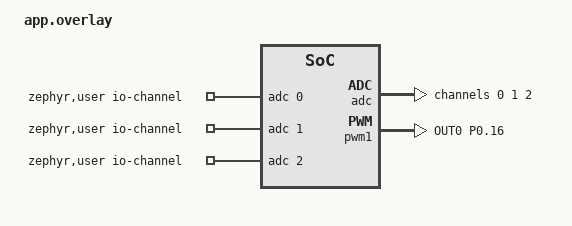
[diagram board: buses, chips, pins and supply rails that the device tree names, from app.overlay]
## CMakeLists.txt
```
# SPDX-License-Identifier: Apache-2.0

cmake_minimum_required(VERSION 3.20.0)
find_package(Zephyr REQUIRED HINTS $ENV{ZEPHYR_BASE})
project(OpenBlink)

target_sources(app PRIVATE
                    src/main.c
                    src/app/blink.c
                    src/app/comm.c
                    src/app/config.c
                    src/app/init.c
                    src/app/mrubyc_vm.c
                    src/app/storage.c
                    src/app/watchdog.c
                    src/api/adc.c
                    src/api/api.c
                    src/api/ble.c
                    src/api/blink.c
                    src/api/i2c.c
                    src/api/input.c
                    src/api/led.c
                    src/api/pwm.c
                    src/api/symbol.c
                    src/api/temperature.c
                    src/drv/hal/die_temperature.c
                    src/drv/adc.c
                    src/drv/ble.c
                    src/drv/ble_blink.c
                    src/drv/gpio.c
                    src/drv/pwm.c
                    src/lib/mrubyc/hal.c
                    src/lib/hmac-sha256.c
                    mrubyc/src/alloc.c
                    mrubyc/src/c_array.c
                    mrubyc/src/c_hash.c
                    mrubyc/src/c_math.c
                    mrubyc/src/c_numeric.c
                    mrubyc/src/c_object.c
                    mrubyc/src/c_range.c
                    mrubyc/src/c_string.c
                    mrubyc/src/class.c
                    mrubyc/src/console.c
                    mrubyc/src/error.c
                    mrubyc/src/global.c
                    mrubyc/src/keyvalue.c
                    mrubyc/src/load.c
                    mrubyc/src/mrblib.c
                    mrubyc/src/rrt0.c
                    mrubyc/src/symbol.c
                    mrubyc/src/value.c
                    mrubyc/src/vm.c)

target_include_directories(app PRIVATE ${CMAKE_CURRENT_SOURCE_DIR}/src/lib/mrubyc ${CMAKE_CURRENT_SOURCE_DIR}/mrubyc/src)
```

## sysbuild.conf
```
SB_CONFIG_PARTITION_MANAGER=y
```

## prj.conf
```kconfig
#
# Copyright (c) 2021 Nordic Semiconductor
#
# SPDX-License-Identifier: LicenseRef-Nordic-5-Clause
#

####################
# Build
####################
CONFIG_CPP=n
CONFIG_DEBUG_OPTIMIZATIONS=n
CONFIG_SIZE_OPTIMIZATIONS=y
CONFIG_PICOLIBC=y
CONFIG_TIMEOUT_64BIT=n
CONFIG_FPU=y
CONFIG_COMPILER_OPT="-DMRBC_SCHEDULER_EXIT=1 -DMRBC_USE_FLOAT=1 -DMAX_VM_COUNT=5" # mruby/c VM settings

####################
# Bluetooth LE
####################
CONFIG_BT=y
CONFIG_BT_PERIPHERAL=y
CONFIG_BT_DEVICE_NAME="OpenBlink"
CONFIG_BT_DEVICE_NAME_DYNAMIC=y
CONFIG_BT_CTLR_TX_PWR_PLUS_8=y
CONFIG_BT_SETTINGS=y
CONFIG_BT_MAX_CONN=1
CONFIG_BT_MAX_PAIRED=1

# Security Manager Protocol
CONFIG_BT_SMP=y

CONFIG_BT_BONDABLE=n
CONFIG_BT_CENTRAL=n
CONFIG_BT_GATT_DYNAMIC_DB=y
CONFIG_BT_ATT_PREPARE_COUNT=2
CONFIG_BT_PRIVACY=y
CONFIG_BT_CTLR_PRIVACY=y
CONFIG_BT_TRANSMIT_POWER_CONTROL=y
CONFIG_BT_SCA_UPDATE=y

CONFIG_BT_USER_DATA_LEN_UPDATE=y
CONFIG_BT_USER_PHY_UPDATE=y
CONFIG_BT_GAP_AUTO_UPDATE_CONN_PARAMS=n

CONFIG_NET_BUF=y
CONFIG_STREAM_FLASH=y

CONFIG_CAF_BLE_STATE_EXCHANGE_MTU=y
CONFIG_BT_L2CAP_TX_MTU=498
CONFIG_BT_BUF_ACL_TX_SIZE=251
CONFIG_BT_BUF_ACL_RX_SIZE=502
CONFIG_BT_CTLR_DATA_LENGTH_MAX=251

CONFIG_BT_CTLR_PHY_2M=y
CONFIG_BT_CTLR_PHY_CODED=y
CONFIG_BT_CTLR_SDC_MAX_CONN_EVENT_LEN_DEFAULT=4000000

CONFIG_BT_GATT_CLIENT=y
CONFIG_BT_GATT_DM=y

CONFIG_BT_SIGNING=y

####################
# Flash (NVS storage, Settings storage)
####################
CONFIG_FLASH=y
CONFIG_FLASH_PAGE_LAYOUT=y
CONFIG_FLASH_MAP=y
CONFIG_NVS=y
CONFIG_NVS_DATA_CRC=y
CONFIG_SETTINGS=y
CONFIG_SETTINGS_RUNTIME=y
CONFIG_SETTINGS_NVS=y
CONFIG_SETTINGS_NVS_NAME_CACHE=y
CONFIG_SETTINGS_NVS_SECTOR_COUNT=8
# settings_storage 32KiB / 4KiB = 8
CONFIG_PM_SINGLE_IMAGE=y

####################
# Drivers and peripherals
####################
CONFIG_GPIO=y
CONFIG_REBOOT=y
CONFIG_CRC=y
CONFIG_LZ4=y
CONFIG_ADC=y
CONFIG_I2C=y
CONFIG_PWM=y
CONFIG_WATCHDOG=y
CONFIG_SENSOR=y
CONFIG_TEMP_NRF5=y
CONFIG_NRF_SECURITY=y
CONFIG_OBERON_BACKEND=y
CONFIG_MBEDTLS_PSA_CRYPTO_C=y
CONFIG_PSA_WANT_GENERATE_RANDOM=y
CONFIG_PSA_WANT_ALG_HMAC=y
CONFIG_PSA_WANT_ALG_SHA_256=y
CONFIG_PSA_WANT_KEY_TYPE_HMAC=y

####################
# Clock
####################
CONFIG_CLOCK_CONTROL_NRF_K32SRC_RC=y
CONFIG_CLOCK_CONTROL_NRF_K32SRC_XTAL=n
CONFIG_CLOCK_CONTROL_NRF_K32SRC_500PPM=y
CONFIG_CLOCK_CONTROL_NRF_K32SRC_SYNTH=n

####################
# Thread
####################
CONFIG_TIMESLICING=y
CONFIG_TIMESLICE_SIZE=10
CONFIG_TIMESLICE_PRIORITY=0

####################
# Memory protection
####################
CONFIG_ARM_MPU=y
CONFIG_THREAD_STACK_INFO=y
CONFIG_THREAD_CUSTOM_DATA=n

####################
# Security
####################
CONFIG_NRF_APPROTECT_USE_UICR=y
#CONFIG_NRF_APPROTECT_LOCK=y

####################
# HW ID
####################
CONFIG_HWINFO=y
CONFIG_HWINFO_NRF=y
CONFIG_HW_ID_LIBRARY=y
CONFIG_HW_ID_LIBRARY_SOURCE_DEVICE_ID=y

####################
# Version
# $ west bindesc dump build/merged.hex
# https://docs.zephyrproject.org/latest/develop/west/zephyr-cmds.html#west-bindesc
####################
CONFIG_BINDESC=y
CONFIG_BINDESC_DEFINE=y
CONFIG_BINDESC_DEFINE_VERSION=y
CONFIG_BINDESC_APP_VERSION_MAJOR=y
CONFIG_BINDESC_APP_VERSION_MINOR=y
CONFIG_BINDESC_APP_VERSION_PATCHLEVEL=y
CONFIG_BINDESC_APP_VERSION_STRING=y
CONFIG_BINDESC_DEFINE_BUILD_TIME=n
CONFIG_BINDESC_BUILD_DATE_TIME_STRING=n
CONFIG_BINDESC_BUILD_TIME_ALWAYS_REBUILD=n
CONFIG_BINDESC_KERNEL_VERSION_STRING=y
CONFIG_BINDESC_KERNEL_VERSION_MAJOR=y
CONFIG_BINDESC_KERNEL_VERSION_MINOR=y
CONFIG_BINDESC_KERNEL_VERSION_PATCHLEVEL=y
CONFIG_BOOT_BANNER=n
CONFIG_BOOT_DELAY=0

#########################
# DEBUG
####################
CONFIG_DEBUG=y
CONFIG_CONSOLE=y
CONFIG_UART_CONSOLE=n
CONFIG_STDOUT_CONSOLE=n
CONFIG_EARLY_CONSOLE=y
CONFIG_RTT_CONSOLE=y
CONFIG_USE_SEGGER_RTT=y
CONFIG_SEGGER_RTT_BUFFER_SIZE_UP=2048
CONFIG_PRINTK=y
#CONFIG_PRINTK_SYNC=y
CONFIG_REQUIRES_FLOAT_PRINTF=y
CONFIG_CBPRINTF_NANO=n
CONFIG_CBPRINTF_LIBC_SUBSTS=n

####################
# Logging
####################
CONFIG_LOG=y
CONFIG_LOG_MODE_MINIMAL=y
#CONFIG_LOG_MODE_DEFERRED=n
#CONFIG_LOG_MODE_IMMEDIATE=n
#CONFIG_LOG_MODE_OVERFLOW=y

CONFIG_LOG_OVERRIDE_LEVEL=0
# - 0 OFF, do not override
# - 1 ERROR, override to write LOG_LEVEL_ERR
# - 2 WARNING, override to write LOG_LEVEL_WRN
# - 3 INFO, override to write LOG_LEVEL_INFO
# - 4 DEBUG, override to write LOG_LEVEL_DBG

#########################
# Thread analyzer
####################
#CONFIG_THREAD_ANALYZER=y
#CONFIG_THREAD_ANALYZER_USE_PRINTK=y
#CONFIG_THREAD_ANALYZER_AUTO=y
#CONFIG_THREAD_ANALYZER_AUTO_INTERVAL=5
#CONFIG_THREAD_NAME=y

####################
# Disable Bluetooth features not needed
####################
#CONFIG_BT_DEBUG_NONE=y
#CONFIG_BT_ASSERT=n
#CONFIG_BT_DATA_LEN_UPDATE=n
#CONFIG_BT_PHY_UPDATE=n
#CONFIG_BT_GATT_CACHING=n
#CONFIG_BT_GATT_SERVICE_CHANGED=n
#CONFIG_BT_GAP_PERIPHERAL_PREF_PARAMS=n
#CONFIG_BT_SETTINGS_CCC_LAZY_LOADING=y
#CONFIG_BT_HCI_VS_EXT=n
CONFIG_BT_GATT_READ_MULTIPLE=n
CONFIG_BT_GATT_READ_MULT_VAR_LEN=n
CONFIG_BT_CTLR_LE_PING=n
CONFIG_BT_ATT_RETRY_ON_SEC_ERR=n
CONFIG_BT_GATT_AUTO_RESUBSCRIBE=n
CONFIG_BT_GATT_ENFORCE_SUBSCRIPTION=n

####################
# Reduce Bluetooth buffers
####################
#CONFIG_BT_BUF_EVT_DISCARDABLE_COUNT=1
#CONFIG_BT_BUF_EVT_DISCARDABLE_SIZE=43
#CONFIG_BT_BUF_EVT_RX_COUNT=2
#CONFIG_BT_CONN_TX_MAX=2
#CONFIG_BT_L2CAP_TX_BUF_COUNT=2
#CONFIG_BT_BUF_ACL_TX_COUNT=3
#CONFIG_BT_BUF_ACL_TX_SIZE=27
```

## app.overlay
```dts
/ {
	zephyr,user {
		io-channels = <&adc 0>, <&adc 1>, <&adc 2>;
	};
};

&adc {
	#address-cells = <1>;
	#size-cells = <0>;
	status = "okay";
	channel@0 {
		reg = <0>;
		zephyr,gain = "ADC_GAIN_1_2";
		zephyr,reference = "ADC_REF_INTERNAL";
		zephyr,acquisition-time = <ADC_ACQ_TIME_DEFAULT>;
		zephyr,input-positive = <NRF_SAADC_VDDHDIV5>;
		zephyr,resolution = <12>;
	};
	channel@1 {
		reg = <1>;
		zephyr,gain = "ADC_GAIN_1_6";
		zephyr,reference = "ADC_REF_INTERNAL";
		zephyr,acquisition-time = <ADC_ACQ_TIME_DEFAULT>;
		zephyr,input-positive = <NRF_SAADC_VDD>;
		zephyr,resolution = <12>;
	};
	channel@2 {
		reg = <2>;
		zephyr,gain = "ADC_GAIN_1_6";
		zephyr,reference = "ADC_REF_INTERNAL";
		zephyr,acquisition-time = <ADC_ACQ_TIME_DEFAULT>;
		zephyr,input-positive = <NRF_SAADC_AIN0>;
		zephyr,resolution = <12>;
	};
};

&pwm1 {
	status = "okay";
	pinctrl-0 = <&pwm1_default>;
	pinctrl-names = "default";
};

&pinctrl {
	pwm1_default: pwm1_default {
		group1 {
			psels = <NRF_PSEL(PWM_OUT0, 0, 16)>;
		};
	};
};
```

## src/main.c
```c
/*
 * SPDX-License-Identifier: BSD-3-Clause
 * SPDX-FileCopyrightText: Copyright (c) 2025 ViXion Inc. All Rights Reserved.
 */
/**
 * @file main.c
 * @brief Main entry point for the OpenBlink firmware
 * @details This file contains the main function and factory reset detection
 * logic
 */
#include <stdbool.h>
#include <stddef.h>
#include <stdint.h>
#include <stdlib.h>
#include <zephyr/kernel.h>
#include <zephyr/logging/log.h>

#include "app/init.h"
#include "app/watchdog.h"
#include "drv/gpio.h"
#include "lib/hmac-sha256.h"

LOG_MODULE_REGISTER(main, LOG_LEVEL_DBG);

static void judge_factory_reset(void);
static void debug_lib_hmac(void);

/**
 * @brief Main function of the OpenBlink firmware
 *
 * @return EXIT_FAILURE if the program exits unexpectedly
 */
int main(void) {
  debug_lib_hmac();
  while (1) {
    watchdog_thread_hearbeat(kAppWatchDogThreadMain);
    judge_factory_reset();
    k_msleep(100);
  }
  return EXIT_FAILURE;
}

/**
 * @brief Detects if factory reset is requested by monitoring button presses
 *
 * @details Monitors SW1 and SW4 buttons. If both are pressed for a certain
 * duration, it triggers a factory reset and reboots the device.
 *          - 3-5 seconds: LED2 blinks to indicate pending factory reset
 *          - >5 seconds: Factory reset is performed, LED2 stays on for 1
 * second
 */
static void judge_factory_reset(void) {
  static bool factory_reset_flag = false;
  static uint16_t duration = 0;
  if ((true == drv_gpio_get(kDrvGpioSW1)) &&
      (true == drv_gpio_get(kDrvGpioSW4))) {
    duration += 1;
  } else {
    duration = 0;
    drv_gpio_set(kDrvGpioLED2, false);
    if (true == factory_reset_flag) {
      drv_gpio_set(kDrvGpioLED2, false);
      init_reboot();
    }
  }
  if ((30 <= duration) && (50 > duration)) {
    if (0 == (duration % 2)) {
      drv_gpio_set(kDrvGpioLED2, true);
    } else {
      drv_gpio_set(kDrvGpioLED2, false);
    }
  } else if (50 <= duration) {
    if (false == factory_reset_flag) {
      factory_reset_flag = true;
      init_factory_reset();
      drv_gpio_set(kDrvGpioLED2, true);
      k_msleep(1000);
    }
  }
}

/**
 * @brief Debug function to test HMAC-SHA256 functionality
 *
 * @details Creates a test key, signs test data, and verifies the signature
 * to ensure the HMAC-SHA256 implementation is working correctly
 */
static void debug_lib_hmac(void) {
  uint8_t dummy_data[32] = {0,  1,  2,  3,  4,  5,  6,  7,  8,  9,  10,
                            11, 12, 13, 14, 15, 16, 17, 18, 19, 20, 21,
                            22, 23, 24, 25, 26, 27, 28, 29, 30, 31};

  hmac_sha256_key_t key = {
      .value = {0, 0, 0, 0, 0, 0, 0, 0, 0, 0, 0, 0, 0, 0, 0, 0,
                0, 0, 0, 0, 0, 0, 0, 0, 0, 0, 0, 0, 0, 0, 0, 0},
      .id = 0,
      .len = 0};

  hmac_sha256_hmac_t tmp_hmac = {
      .value = {0, 0, 0, 0, 0, 0, 0, 0, 0, 0, 0, 0, 0, 0, 0, 0,
                0, 0, 0, 0, 0, 0, 0, 0, 0, 0, 0, 0, 0, 0, 0, 0},
      .len = 0};

  // Key generation
  hmac_sha256_genkey(&key);

  // HAMC-SHA256 sign
  hmac_sha256_sign(&key, &tmp_hmac, dummy_data,
                   sizeof(dummy_data) / sizeof(dummy_data[0]));

  // HMAC-SHA256 verification
  if (kSuccess !=
      hmac_sha256_verify(&key, &tmp_hmac, dummy_data,
                         sizeof(dummy_data) / sizeof(dummy_data[0]))) {
    LOG_DBG("HMAC-SHA256 verification failed!");
  } else {
    LOG_DBG("HMAC-SHA256 verification successful!");
  }
}
```
